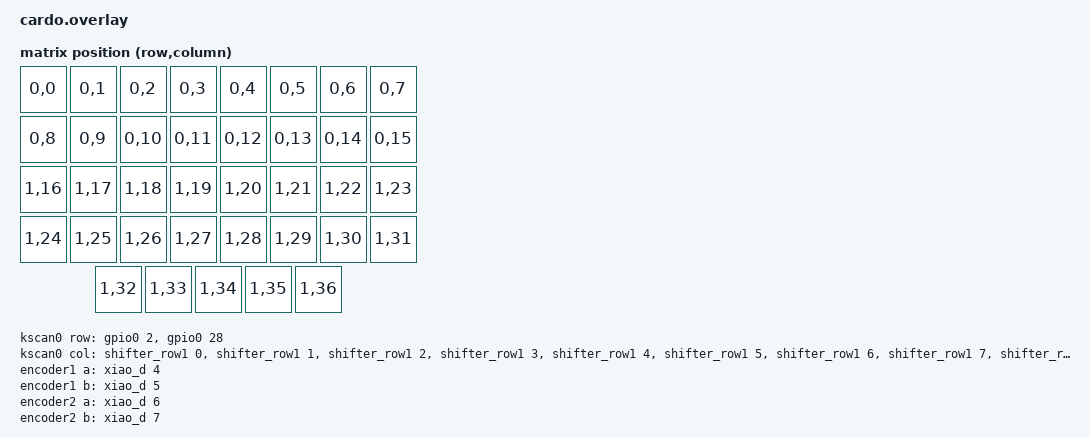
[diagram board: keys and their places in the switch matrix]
#include <dt-bindings/gpio/gpio.h>
#include <dt-bindings/zmk/matrix_transform.h>

/ {
    chosen {
        zmk,kscan = &kscan0;
        zmk,matrix_transform = &default_transform;
    };

    /* The PCB has two electrically independent shift-register chains.
     * They share SPI data/clock, but have separate latch (CS) lines.
     */
    kscan0: kscan {
        compatible = "zmk,kscan-gpio-matrix";
        diode-direction = "col2row";

        /* U1-U2 (ROW1_CS), then U3/U5-U6 (ROW2_CS). */
        col-gpios =
            <&shifter_row1 0 GPIO_ACTIVE_HIGH>, <&shifter_row1 1 GPIO_ACTIVE_HIGH>,
            <&shifter_row1 2 GPIO_ACTIVE_HIGH>, <&shifter_row1 3 GPIO_ACTIVE_HIGH>,
            <&shifter_row1 4 GPIO_ACTIVE_HIGH>, <&shifter_row1 5 GPIO_ACTIVE_HIGH>,
            <&shifter_row1 6 GPIO_ACTIVE_HIGH>, <&shifter_row1 7 GPIO_ACTIVE_HIGH>,
            <&shifter_row1 8 GPIO_ACTIVE_HIGH>, <&shifter_row1 9 GPIO_ACTIVE_HIGH>,
            <&shifter_row1 10 GPIO_ACTIVE_HIGH>, <&shifter_row1 11 GPIO_ACTIVE_HIGH>,
            <&shifter_row1 12 GPIO_ACTIVE_HIGH>, <&shifter_row1 13 GPIO_ACTIVE_HIGH>,
            <&shifter_row1 14 GPIO_ACTIVE_HIGH>, <&shifter_row1 15 GPIO_ACTIVE_HIGH>,
            <&shifter_row2 0 GPIO_ACTIVE_HIGH>, <&shifter_row2 1 GPIO_ACTIVE_HIGH>,
            <&shifter_row2 2 GPIO_ACTIVE_HIGH>, <&shifter_row2 3 GPIO_ACTIVE_HIGH>,
            <&shifter_row2 4 GPIO_ACTIVE_HIGH>, <&shifter_row2 5 GPIO_ACTIVE_HIGH>,
            <&shifter_row2 6 GPIO_ACTIVE_HIGH>, <&shifter_row2 7 GPIO_ACTIVE_HIGH>,
            <&shifter_row2 8 GPIO_ACTIVE_HIGH>, <&shifter_row2 9 GPIO_ACTIVE_HIGH>,
            <&shifter_row2 10 GPIO_ACTIVE_HIGH>, <&shifter_row2 11 GPIO_ACTIVE_HIGH>,
            <&shifter_row2 12 GPIO_ACTIVE_HIGH>, <&shifter_row2 13 GPIO_ACTIVE_HIGH>,
            <&shifter_row2 14 GPIO_ACTIVE_HIGH>, <&shifter_row2 15 GPIO_ACTIVE_HIGH>,
            <&shifter_row2 16 GPIO_ACTIVE_HIGH>, <&shifter_row2 17 GPIO_ACTIVE_HIGH>,
            <&shifter_row2 18 GPIO_ACTIVE_HIGH>, <&shifter_row2 19 GPIO_ACTIVE_HIGH>,
            <&shifter_row2 20 GPIO_ACTIVE_HIGH>, <&shifter_row2 21 GPIO_ACTIVE_HIGH>,
            <&shifter_row2 22 GPIO_ACTIVE_HIGH>, <&shifter_row2 23 GPIO_ACTIVE_HIGH>;

        /* XIAO D0/D2: ROW1 and ROW2 switch inputs. */
        row-gpios = <&gpio0 2 (GPIO_ACTIVE_HIGH | GPIO_PULL_DOWN)>,
                    <&gpio0 28 (GPIO_ACTIVE_HIGH | GPIO_PULL_DOWN)>;
    };

    default_transform: matrix_transform {
        compatible = "zmk,matrix-transform";
        columns = <40>;
        rows = <2>;
        /* The first 16 matrix columns are on ROW1_A; the remaining 21
         * populated columns are on ROW2_A (shift-register pins 0-20).
         */
        map = <
            RC(0,0) RC(0,1) RC(0,2) RC(0,3) RC(0,4) RC(0,5) RC(0,6) RC(0,7)
            RC(0,8) RC(0,9) RC(0,10) RC(0,11) RC(0,12) RC(0,13) RC(0,14) RC(0,15)
            RC(1,16) RC(1,17) RC(1,18) RC(1,19) RC(1,20) RC(1,21) RC(1,22) RC(1,23)
            RC(1,24) RC(1,25) RC(1,26) RC(1,27) RC(1,28) RC(1,29) RC(1,30) RC(1,31)
            RC(1,32) RC(1,33) RC(1,34) RC(1,35) RC(1,36)
        >;
    };

    encoder1: encoder1 {
        compatible = "alps,ec11";
        a-gpios = <&xiao_d 4 (GPIO_ACTIVE_HIGH | GPIO_PULL_UP)>;
        b-gpios = <&xiao_d 5 (GPIO_ACTIVE_HIGH | GPIO_PULL_UP)>;
        steps = <48>;
        status = "okay";
    };

    encoder2: encoder2 {
        compatible = "alps,ec11";
        a-gpios = <&xiao_d 6 (GPIO_ACTIVE_HIGH | GPIO_PULL_UP)>;
        b-gpios = <&xiao_d 7 (GPIO_ACTIVE_HIGH | GPIO_PULL_UP)>;
        steps = <48>;
        status = "okay";
    };

    sensors: sensors {
        compatible = "zmk,keymap-sensors";
        sensors = <&encoder1 &encoder2>;
        triggers-per-rotation = <12>;
    };
};

&spi2 {
    status = "okay";
    pinctrl-0 = <&spi2_default>;
    pinctrl-1 = <&spi2_sleep>;
    pinctrl-names = "default", "sleep";
    /* XIAO D1/D3: ROW1_CS and ROW2_CS. */
    cs-gpios = <&gpio0 3 GPIO_ACTIVE_LOW>, <&gpio0 29 GPIO_ACTIVE_LOW>;

    shifter_row1: gpio595_row1@0 {
        compatible = "zmk,gpio-595";
        reg = <0>;
        status = "okay";
        gpio-controller;
        #gpio-cells = <2>;
        ngpios = <16>;
        spi-max-frequency = <1000000>;
    };

    shifter_row2: gpio595_row2@1 {
        compatible = "zmk,gpio-595";
        reg = <1>;
        status = "okay";
        gpio-controller;
        #gpio-cells = <2>;
        ngpios = <24>;
        spi-max-frequency = <1000000>;
    };
};
